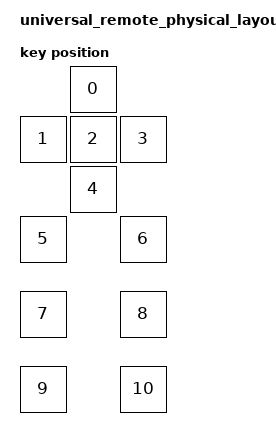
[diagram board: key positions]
#include <physical_layouts.dtsi>

/ {
    physical_layout0: physical_layout_0 {
        compatible = "zmk,physical-layout";
        display-name = "Default Layout";

        kscan = <&kscan0>;
        transform = <&default_transform>;

        keys  //                     w   h    x    y     rot    rx    ry
            = <&key_physical_attrs 100 100  100    0       0     0     0>  // SW1
            , <&key_physical_attrs 100 100    0  100       0     0     0>  // SW8
            , <&key_physical_attrs 100 100  100  100       0     0     0>  // SW5
            , <&key_physical_attrs 100 100  200  100       0     0     0>  // SW9
            , <&key_physical_attrs 100 100  100  200       0     0     0>  // SW4
            , <&key_physical_attrs 100 100    0  300       0     0     0>  // SW6
            , <&key_physical_attrs 100 100  200  300       0     0     0>  // SW7
            , <&key_physical_attrs 100 100    0  450       0     0     0>  // SW2
            , <&key_physical_attrs 100 100  200  450       0     0     0>  // SW3
            , <&key_physical_attrs 100 100    0  600       0     0     0>  // SW10
            , <&key_physical_attrs 100 100  200  600       0     0     0>  // SW11
            ;
    };
};
